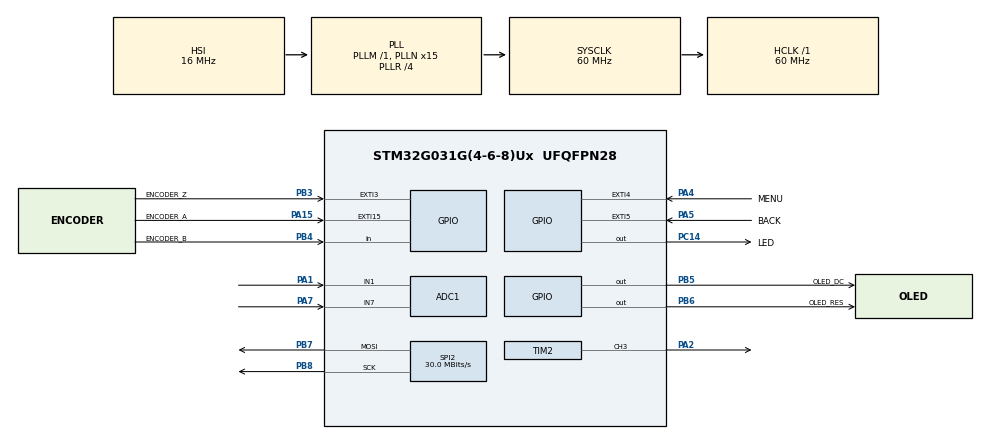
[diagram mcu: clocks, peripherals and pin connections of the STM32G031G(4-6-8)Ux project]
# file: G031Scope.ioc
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ADC1.Channel-0\#ChannelRegularConversion=ADC_CHANNEL_1
ADC1.Channel-1\#ChannelRegularConversion=ADC_CHANNEL_7
ADC1.ClockPrescaler=ADC_CLOCK_SYNC_PCLK_DIV2
ADC1.ContinuousConvMode=DISABLE
ADC1.DMAContinuousRequests=DISABLE
ADC1.EOCSelection=ADC_EOC_SINGLE_CONV
ADC1.ExternalTrigConv=ADC_EXTERNALTRIG_T2_TRGO
ADC1.ExternalTrigConvEdge=ADC_EXTERNALTRIGCONVEDGE_RISINGFALLING
ADC1.NbrOfConversion=2
ADC1.NbrOfConversionFlag=1
ADC1.Rank-0\#ChannelRegularConversion=1
ADC1.Rank-1\#ChannelRegularConversion=2
ADC1.SamplingTime-0\#ChannelRegularConversion=ADC_SAMPLINGTIME_COMMON_1
ADC1.SamplingTime-1\#ChannelRegularConversion=ADC_SAMPLINGTIME_COMMON_2
ADC1.SamplingTimeCommon1=ADC_SAMPLETIME_39CYCLES_5
ADC1.SamplingTimeCommon2=ADC_SAMPLETIME_39CYCLES_5
ADC1.SelectedChannel=ADC_CHANNEL_1|ADC_CHANNEL_7
ADC1.master=1
Dma.ADC1.0.Direction=DMA_PERIPH_TO_MEMORY
Dma.ADC1.0.EventEnable=DISABLE
Dma.ADC1.0.Instance=DMA1_Channel1
Dma.ADC1.0.MemDataAlignment=DMA_MDATAALIGN_HALFWORD
Dma.ADC1.0.MemInc=DMA_MINC_ENABLE
Dma.ADC1.0.Mode=DMA_CIRCULAR
Dma.ADC1.0.PeriphDataAlignment=DMA_PDATAALIGN_HALFWORD
Dma.ADC1.0.PeriphInc=DMA_PINC_DISABLE
Dma.ADC1.0.Polarity=HAL_DMAMUX_REQ_GEN_RISING
Dma.ADC1.0.Priority=DMA_PRIORITY_LOW
Dma.ADC1.0.RequestNumber=1
Dma.ADC1.0.SignalID=NONE
Dma.ADC1.0.SyncEnable=DISABLE
Dma.ADC1.0.SyncPolarity=HAL_DMAMUX_SYNC_NO_EVENT
Dma.ADC1.0.SyncRequestNumber=1
Dma.ADC1.0.SyncSignalID=NONE
Dma.Request0=ADC1
Mcu.Family=STM32G0
Mcu.Name=STM32G031G(4-6-8)Ux
Mcu.Package=UFQFPN28
NVIC.DMA1_Channel1_IRQn=true\:0\:0\:false\:false\:true\:false\:true
NVIC.EXTI2_3_IRQn=true\:0\:0\:false\:false\:true\:true\:true
NVIC.EXTI4_15_IRQn=true\:0\:0\:false\:false\:true\:true\:true
PA1.Mode=IN1
PA1.Signal=ADC1_IN1
PA13.Mode=Serial_Wire
PA13.Signal=SYS_SWDIO
PA14-BOOT0.Mode=Serial_Wire
PA14-BOOT0.Signal=SYS_SWCLK
PA15.GPIO_Label=ENCODER_A
PA15.GPIO_ModeDefaultEXTI=GPIO_MODE_IT_RISING_FALLING
PA15.Signal=GPXTI15
PA2.Signal=S_TIM2_CH3
PA4.GPIO_Label=MENU
PA4.Signal=GPXTI4
PA5.GPIO_Label=BACK
PA5.Signal=GPXTI5
PA7.Mode=IN7
PA7.Signal=ADC1_IN7
PB3.GPIO_Label=ENCODER_Z
PB3.GPIO_ModeDefaultEXTI=GPIO_MODE_IT_RISING
PB3.Signal=GPXTI3
PB4.GPIO_Label=ENCODER_B
PB4.Signal=GPIO_Input
PB5.GPIO_Label=OLED_DC
PB5.GPIO_Speed=GPIO_SPEED_FREQ_VERY_HIGH
PB5.Signal=GPIO_Output
PB6.GPIO_Label=OLED_RES
PB6.GPIO_Speed=GPIO_SPEED_FREQ_VERY_HIGH
PB6.Signal=GPIO_Output
PB7.GPIO_Speed=GPIO_SPEED_FREQ_VERY_HIGH
PB7.Mode=TX_Only_Simplex_Unidirect_Master
PB7.Signal=SPI2_MOSI
PB8.GPIO_Speed=GPIO_SPEED_FREQ_VERY_HIGH
PB8.Mode=TX_Only_Simplex_Unidirect_Master
PB8.Signal=SPI2_SCK
PC14-OSC32_IN\ (PC14).GPIO_Label=LED
PC14-OSC32_IN\ (PC14).Signal=GPIO_Output
ProjectManager.HeapSize=0x200
ProjectManager.StackSize=0x400
ProjectManager.TargetToolchain=STM32CubeIDE
RCC.ADCFreq_Value=60000000
RCC.AHBFreq_Value=60000000
RCC.CortexFreq_Value=60000000
RCC.EXTERNAL_CLOCK_VALUE=12288000
RCC.HCLKFreq_Value=60000000
RCC.HSE_VALUE=8000000
RCC.HSI_VALUE=16000000
RCC.LSE_VALUE=32768
RCC.PLLN=15
RCC.PLLR=RCC_PLLR_DIV4
RCC.SYSCLKFreq_VALUE=60000000
RCC.SYSCLKSource=RCC_SYSCLKSOURCE_PLLCLK
RCC.VCOOutputFreq_Value=240000000
SH.S_TIM2_CH3.0=TIM2_CH3,Output Compare3 CH3
SPI2.CalculateBaudRate=30.0 MBits/s
SPI2.Direction=SPI_DIRECTION_2LINES
SPI2.Mode=SPI_MODE_MASTER
SPI2.VirtualType=VM_MASTER
TIM2.AutoReloadPreload=TIM_AUTORELOAD_PRELOAD_ENABLE
TIM2.Channel-Output\ Compare3\ CH3=TIM_CHANNEL_3
TIM2.OCMode_3=TIM_OCMODE_TOGGLE
TIM2.Period=1000-1
TIM2.Prescaler=60-1
TIM2.TIM_MasterOutputTrigger=TIM_TRGO_UPDATE
VP_TIM2_VS_ClockSourceINT.Mode=Internal
board=custom

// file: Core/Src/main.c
/* USER CODE BEGIN Header */
/**
  ******************************************************************************
  * @file           : main.c
  * @brief          : Main program body
  ******************************************************************************
  * @attention
  *
  * Copyright (c) 2022 STMicroelectronics.
  * All rights reserved.
  *
  * This software is licensed under terms that can be found in the LICENSE file
  * in the root directory of this software component.
  * If no LICENSE file comes with this software, it is provided AS-IS.
  *
  ******************************************************************************
  */
/* USER CODE END Header */
#include "main.h"
#include "adc.h"
#include "dma.h"
#include "spi.h"
#include "tim.h"
#include "gpio.h"

/* USER CODE BEGIN Includes */
#include "ssd1306.h"
//#include "ssd1306_tests.h"
#include "stdio.h"
#include "math.h"
#define PI 3.1415926
#define ADC_MAX_NUM 2*10 // dma num
#define HORIZONTAL_BLOK_NUM 3 // max horizontal bolock num on display
#define VERTICAL_BLOK_NUM 5 // max horizontal bolock num on display
#define MAX_SAMPLE_NUM 256 //max sample num
#define INFO_PIXEL_BOTTOM 12 //12px space used to show information on bottom of the display
#define INFO_PIXEL_UP 12 //12px space used to show information on up of the display

/* USER CODE END Includes */

void SystemClock_Config(void);

/* USER CODE BEGIN 0 */

/*----------------------------*/

int channel_num = 2;

// FALGS
// use the flags to switch running modes

// 1 for wait; 0 for stop.
int wait = 1;

// 0 for enable both CHA and CHB; 1 for enable CHA only; 2 for enable CHB only; 3 for FFT.
int chan = 3;

// the number of trigger voltage with unit in millivolt. only CHA can be used to trigger.
float tri_voltage = 0;

int time_scale = 10; // ms/div
int amp_scale = 1; // V/div

// 0 for normal; 1 for auto.
int mode = 0;

// 0 for channel, 1 for trigger, 2 for mode.
int menu_switch = 0;

int state = 0;

// Variables needed for running.

float adc_factor_1 = (1*3.3/4095); //CHA
float adc_factor_2 = (1*3.3/4095); //CHB

volatile uint16_t adc_values[ADC_MAX_NUM]; //in dma
volatile float adc_voltages_1[MAX_SAMPLE_NUM] = {0}; //change adc_values to voltages
int adc_voltages_index_1 = 0; //pointer in adc_voltages, increase to MAX_SAMPLE_NUM and back to 0
volatile float adc_voltages_2[MAX_SAMPLE_NUM] = {0};
int adc_voltages_index_2 = 0;
int plot_values_1[128]; // CHA plot
int plot_values_2[128]; // CHB plot

// in interrupt block
////Calculating sampling frequency
//int freq_samp = 128/(time_scale*HORIZONTAL_BLOK_NUM);

/*---------------------------*/

void init() {
	HAL_TIM_Base_Init(&htim2);
	HAL_TIM_Base_Start_IT(&htim2);
//	HAL_TIM_OC_Start(&htim2, TIM_CHANNEL_3); //for debug output compare on PA8

	HAL_ADC_Start_DMA(&hadc1, (uint32_t *)adc_values, ADC_MAX_NUM);

	HAL_GPIO_WritePin(LED_GPIO_Port, LED_Pin, GPIO_PIN_RESET);
	ssd1306_Init();
}

//adc convert
float adc_convert(float adc_value, float factor) {
	return adc_value*factor;
}

//plot convert
//voltage -> (127-bottom, 0+up)
void plot_convert(float amp_low, float amp_high) {
	for (int i=0; i<128; i++){
		plot_values_1[i] = (float)(127-INFO_PIXEL_BOTTOM - INFO_PIXEL_UP)/(amp_low-amp_high)*adc_voltages_1[i]
			+ 127-INFO_PIXEL_BOTTOM - (127-INFO_PIXEL_BOTTOM - INFO_PIXEL_UP)/(amp_low-amp_high)*amp_low;
		plot_values_2[i] = (float)(127-INFO_PIXEL_BOTTOM - INFO_PIXEL_UP)/(amp_low-amp_high)*adc_voltages_2[i]
			+ 127-INFO_PIXEL_BOTTOM - (127-INFO_PIXEL_BOTTOM - INFO_PIXEL_UP)/(amp_low-amp_high)*amp_low;
	}
}

//help function
void float2str(char* str,float value)
{
	int Head = (int)value;
	int Point = (int)((value - Head)*10.0);
	sprintf(str, "%d.%d", Head, Point);

}

//update plot
void update_plot() {
	// update wave
	ssd1306_Fill(White);
	for( int x = 0; x < 128; x++ ) {
		ssd1306_DrawPixel(x, plot_values_1[x], Black);
		ssd1306_DrawPixel(x, plot_values_2[x], Black);
	}
	ssd1306_Line(0, INFO_PIXEL_UP, 127, INFO_PIXEL_UP, Black);

	// update upon info area
	// wait
	ssd1306_SetCursor(2, 1);
	switch (wait) {
		case 1:
			ssd1306_WriteString("W", Font_7x10, Black);
			break;
		case 0:
			ssd1306_WriteString("S", Font_7x10, Black);
			break;
		default:
			break;
	}

	// CH
	ssd1306_SetCursor(15, 1);
	switch (chan) {
		case 0:
			ssd1306_WriteString("A/B", Font_7x10, Black);
			break;
		case 1:
			ssd1306_WriteString("CHA", Font_7x10, Black);
			break;
		case 2:
			ssd1306_WriteString("CHB", Font_7x10, Black);
			break;
		case 3:
			ssd1306_WriteString("FFT", Font_7x10, Black);
			break;
		default:
			break;
	}

	//time scale
	ssd1306_SetCursor(40, 1);
	char str_time_scale[10] = {0};
	sprintf(str_time_scale,"%d",time_scale);
	ssd1306_WriteString(str_time_scale, Font_7x10, Black);
	ssd1306_WriteString("ms", Font_7x10, Black);

	//amp scale
	ssd1306_SetCursor(75, 1);
	char str_amp_scale[10] = {0};
	sprintf(str_amp_scale,"%d",amp_scale);
	ssd1306_WriteString(str_amp_scale, Font_7x10, Black);
	ssd1306_WriteString("V", Font_7x10, Black);

	//trigger
	ssd1306_SetCursor(100, 1);
	char str_tri_voltage[10];
	char* p = str_tri_voltage;
	float2str(p, tri_voltage);
	ssd1306_WriteString(str_tri_voltage, Font_7x10, Black);
	ssd1306_WriteString("V", Font_7x10, Black);

	//mode
	ssd1306_SetCursor(85, 118);
	switch (mode) {
		case 0:
			ssd1306_WriteString("Normal", Font_7x10, Black);
			break;
		case 1:
			ssd1306_WriteString("Auto", Font_7x10, Black);
			break;
		default:
			break;
	}

	ssd1306_Line(0, 127 - INFO_PIXEL_BOTTOM, 127, 127 - INFO_PIXEL_BOTTOM, Black);
	ssd1306_UpdateScreen();
}

void loop() {
	plot_convert(0, 3.3);
	update_plot();
}
/* USER CODE END 0 */

int main(void)
{

  /* MCU Configuration--------------------------------------------------------*/

  /* Reset of all peripherals, Initializes the Flash interface and the Systick. */
  HAL_Init();

  /* Configure the system clock */
  SystemClock_Config();

  /* Initialize all configured peripherals */
  MX_GPIO_Init();
  MX_SPI2_Init();
  MX_DMA_Init();
  MX_ADC1_Init();
  MX_TIM2_Init();
  /* USER CODE BEGIN 2 */
  init();
  /* USER CODE END 2 */

  /* Infinite loop */
  /* USER CODE BEGIN WHILE */
  while (1)
  {
	  loop();

    /* USER CODE END WHILE */

  }
}

void SystemClock_Config(void)
{
  RCC_OscInitTypeDef RCC_OscInitStruct = {0};
  RCC_ClkInitTypeDef RCC_ClkInitStruct = {0};

  /** Configure the main internal regulator output voltage
  */
  HAL_PWREx_ControlVoltageScaling(PWR_REGULATOR_VOLTAGE_SCALE1);
  /** Initializes the RCC Oscillators according to the specified parameters
  * in the RCC_OscInitTypeDef structure.
  */
  RCC_OscInitStruct.OscillatorType = RCC_OSCILLATORTYPE_HSI;
  RCC_OscInitStruct.HSIState = RCC_HSI_ON;
  RCC_OscInitStruct.HSIDiv = RCC_HSI_DIV1;
  RCC_OscInitStruct.HSICalibrationValue = RCC_HSICALIBRATION_DEFAULT;
  RCC_OscInitStruct.PLL.PLLState = RCC_PLL_ON;
  RCC_OscInitStruct.PLL.PLLSource = RCC_PLLSOURCE_HSI;
  RCC_OscInitStruct.PLL.PLLM = RCC_PLLM_DIV1;
  RCC_OscInitStruct.PLL.PLLN = 15;
  RCC_OscInitStruct.PLL.PLLP = RCC_PLLP_DIV2;
  RCC_OscInitStruct.PLL.PLLQ = RCC_PLLQ_DIV2;
  RCC_OscInitStruct.PLL.PLLR = RCC_PLLR_DIV4;
  if (HAL_RCC_OscConfig(&RCC_OscInitStruct) != HAL_OK)
  {
    Error_Handler();
  }
  /** Initializes the CPU, AHB and APB buses clocks
  */
  RCC_ClkInitStruct.ClockType = RCC_CLOCKTYPE_HCLK|RCC_CLOCKTYPE_SYSCLK
                              |RCC_CLOCKTYPE_PCLK1;
  RCC_ClkInitStruct.SYSCLKSource = RCC_SYSCLKSOURCE_PLLCLK;
  RCC_ClkInitStruct.AHBCLKDivider = RCC_SYSCLK_DIV1;
  RCC_ClkInitStruct.APB1CLKDivider = RCC_HCLK_DIV1;

  if (HAL_RCC_ClockConfig(&RCC_ClkInitStruct, FLASH_LATENCY_2) != HAL_OK)
  {
    Error_Handler();
  }
}

/* USER CODE BEGIN 4 */
void HAL_ADC_ConvCpltCallback(ADC_HandleTypeDef *hadc) {
	// 转换完成后，将两个�?�道的�?�分别�?�入adc_voltages_1和adc_voltages_2，并闪烁指示�????????
	float voltage1 = 0;
	float voltage2 = 0;
	for (int i=0; i<ADC_MAX_NUM; i++) {
		if (i%2==0){
			voltage1 += adc_convert(adc_values[i], adc_factor_1);
		}
		if (i%2==1){
			voltage2 += adc_convert(adc_values[i], adc_factor_2);
		}
	}
	voltage1 = voltage1/(ADC_MAX_NUM/2); //(ADC_MAX_NUM)�????????定要打括�????????
	voltage2 = voltage2/(ADC_MAX_NUM/2);
	adc_voltages_1[adc_voltages_index_1] = voltage1;
	adc_voltages_2[adc_voltages_index_2] = voltage2;
	if (adc_voltages_index_1<MAX_SAMPLE_NUM){
		adc_voltages_index_1++;
	} else adc_voltages_index_1 = 0;
	if (adc_voltages_index_2<MAX_SAMPLE_NUM){
			adc_voltages_index_2++;
		} else adc_voltages_index_2 = 0;
	HAL_GPIO_TogglePin(LED_GPIO_Port, LED_Pin);

	// �????????始下�????????次转�????????
	HAL_ADC_Start_DMA(&hadc1, (uint32_t *)adc_values, ADC_MAX_NUM);
}

uint32_t previousMillis = 0;
int num =0;
int flag = 0;  //标志�????????
int CW_1 = 0;
int CW_2 = 0;
void HAL_GPIO_EXTI_Rising_Callback(uint16_t GPIO_Pin) {
	if (GPIO_Pin == MENU_Pin) {
		if (menu_switch<2&&menu_switch>=0) {
			menu_switch++;
		}else {
			menu_switch = 0;
		}
	}
	if (GPIO_Pin == ENCODER_Z_Pin) {
		if (wait==0) {
			wait = 1;
		} else {
			wait = 0;
		}
//		__HAL_TIM_DISABLE(&htim2);
//		 htim2.Instance->CNT=0;
//		 htim2.Instance->ARR=5000-1;
//		__HAL_TIM_ENABLE(&htim2);
	}

	if (GPIO_Pin == ENCODER_A_Pin) {
		uint32_t currentMillis = HAL_GetTick();
		if (currentMillis - previousMillis < 50) {
			return;
		}
		int alv = HAL_GPIO_ReadPin(ENCODER_A_GPIO_Port, ENCODER_A_Pin);
		int blv = HAL_GPIO_ReadPin(ENCODER_B_GPIO_Port, ENCODER_B_Pin);
		if (flag == 0 && alv == GPIO_PIN_RESET) {
			CW_1 = blv;
			flag = 1;
		}
		if (flag && alv) {
			CW_2 = !blv;  //取反是因�???????? alv,blv必然异步，一高一�????????
			if (CW_1 && CW_2) {
				num++;
				previousMillis = HAL_GetTick();
			}
			if (CW_1 == 0 && CW_2 == 0) {
				num--;
				previousMillis = HAL_GetTick();
			}
			flag = 0;
		}
	}
}

void HAL_GPIO_EXTI_Falling_Callback(uint16_t GPIO_Pin) {
	if (GPIO_Pin == ENCODER_A_Pin) {
		uint32_t currentMillis = HAL_GetTick();
		if (currentMillis - previousMillis < 50) {
			return;
		}
		int alv = HAL_GPIO_ReadPin(ENCODER_A_GPIO_Port, ENCODER_A_Pin);
		int blv = HAL_GPIO_ReadPin(ENCODER_B_GPIO_Port, ENCODER_B_Pin);
		if (flag == 0 && alv == GPIO_PIN_RESET) {
			CW_1 = blv;
			flag = 1;
		}
		if (flag && alv) {
			CW_2 = !blv;  //取反是因�???????? alv,blv必然异步，一高一�????????
			if (CW_1 && CW_2) {
				num++;
				previousMillis = HAL_GetTick();
			}
			if (CW_1 == 0 && CW_2 == 0) {
				num--;
				previousMillis = HAL_GetTick();
			}
			flag = 0;
		}
	}
}
/* USER CODE END 4 */

void Error_Handler(void)
{
  __disable_irq();
  while (1)
  {
  }
}
